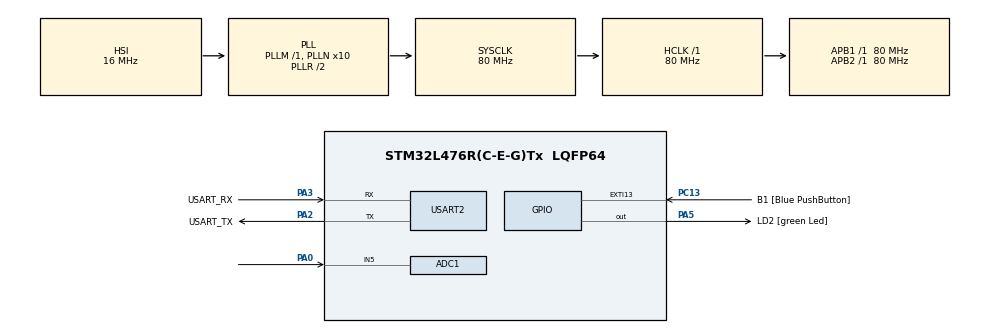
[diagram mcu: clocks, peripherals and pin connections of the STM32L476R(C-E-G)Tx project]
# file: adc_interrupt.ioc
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ADC1.Channel-1\#ChannelRegularConversion=ADC_CHANNEL_5
ADC1.NbrOfConversionFlag=1
ADC1.OffsetNumber-1\#ChannelRegularConversion=ADC_OFFSET_NONE
ADC1.Rank-1\#ChannelRegularConversion=1
ADC1.SamplingTime-1\#ChannelRegularConversion=ADC_SAMPLETIME_2CYCLES_5
ADC1.master=1
Mcu.Family=STM32L4
Mcu.Name=STM32L476R(C-E-G)Tx
Mcu.Package=LQFP64
NVIC.ADC1_2_IRQn=true\:0\:0\:false\:false\:true\:true\:true\:true
NVIC.PriorityGroup=NVIC_PRIORITYGROUP_4
PA0.Signal=ADCx_IN5
PA13\ (JTMS-SWDIO).GPIO_Label=TMS
PA13\ (JTMS-SWDIO).Mode=Serial_Wire
PA13\ (JTMS-SWDIO).Signal=SYS_JTMS-SWDIO
PA14\ (JTCK-SWCLK).GPIO_Label=TCK
PA14\ (JTCK-SWCLK).Mode=Serial_Wire
PA14\ (JTCK-SWCLK).Signal=SYS_JTCK-SWCLK
PA2.GPIO_Label=USART_TX
PA2.GPIO_Mode=GPIO_MODE_AF_PP
PA2.GPIO_PuPd=GPIO_NOPULL
PA2.GPIO_Speed=GPIO_SPEED_FREQ_VERY_HIGH
PA2.Mode=Asynchronous
PA2.Signal=USART2_TX
PA3.GPIO_Label=USART_RX
PA3.GPIO_Mode=GPIO_MODE_AF_PP
PA3.GPIO_PuPd=GPIO_NOPULL
PA3.GPIO_Speed=GPIO_SPEED_FREQ_VERY_HIGH
PA3.Mode=Asynchronous
PA3.Signal=USART2_RX
PA5.GPIO_Label=LD2 [green Led]
PA5.GPIO_ModeDefaultOutputPP=GPIO_MODE_OUTPUT_PP
PA5.GPIO_PuPd=GPIO_NOPULL
PA5.GPIO_Speed=GPIO_SPEED_FREQ_LOW
PA5.Signal=GPIO_Output
PB3\ (JTDO-TRACESWO).GPIO_Label=SWO
PB3\ (JTDO-TRACESWO).Signal=SYS_JTDO-SWO
PC13.GPIO_Label=B1 [Blue PushButton]
PC13.GPIO_ModeDefaultEXTI=GPIO_MODE_IT_FALLING
PC13.GPIO_PuPd=GPIO_NOPULL
PC13.Signal=GPXTI13
PC14-OSC32_IN\ (PC14).Signal=RCC_OSC32_IN
PC15-OSC32_OUT\ (PC15).Signal=RCC_OSC32_OUT
PH0-OSC_IN\ (PH0).Mode=HSE-External-Oscillator
PH0-OSC_IN\ (PH0).Signal=RCC_OSC_IN
PH1-OSC_OUT\ (PH1).Mode=HSE-External-Oscillator
PH1-OSC_OUT\ (PH1).Signal=RCC_OSC_OUT
ProjectManager.HeapSize=0x200
ProjectManager.StackSize=0x400
ProjectManager.TargetToolchain=STM32CubeIDE
RCC.ADCFreq_Value=64000000
RCC.AHBFreq_Value=80000000
RCC.APB1Freq_Value=80000000
RCC.APB1TimFreq_Value=80000000
RCC.APB2Freq_Value=80000000
RCC.APB2TimFreq_Value=80000000
RCC.CortexFreq_Value=80000000
RCC.HCLKFreq_Value=80000000
RCC.HSE_VALUE=8000000
RCC.HSI_VALUE=16000000
RCC.MSI_VALUE=4000000
RCC.PLLN=10
RCC.PLLSourceVirtual=RCC_PLLSOURCE_HSI
RCC.PREFETCH_ENABLE=1
RCC.SYSCLKFreq_VALUE=80000000
RCC.SYSCLKSource=RCC_SYSCLKSOURCE_PLLCLK
RCC.USBFreq_Value=64000000
RCC.VCOOutputFreq_Value=160000000
SH.ADCx_IN5.0=ADC1_IN5,IN5-Single-Ended
USART2.VirtualMode-Asynchronous=VM_ASYNC
board=NUCLEO-L476RG

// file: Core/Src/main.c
/* USER CODE BEGIN Header */
/**
  ******************************************************************************
  * @file           : main.c
  * @brief          : Main program body
  ******************************************************************************
  * @attention
  *
  * Copyright (c) 2025 STMicroelectronics.
  * All rights reserved.
  *
  * This software is licensed under terms that can be found in the LICENSE file
  * in the root directory of this software component.
  * If no LICENSE file comes with this software, it is provided AS-IS.
  *
  ******************************************************************************
  */
/* USER CODE END Header */
#include "main.h"

ADC_HandleTypeDef hadc1;

UART_HandleTypeDef huart2;

/* USER CODE BEGIN PV */
uint32_t adcValue ;
ADC_HandleTypeDef  hadc1;

/* USER CODE END PV */

void SystemClock_Config(void);
static void MX_GPIO_Init(void);
static void MX_USART2_UART_Init(void);
static void MX_ADC1_Init(void);

/* USER CODE BEGIN 0 */
int __io_putchar(int ch)
{
	HAL_UART_Transmit(&huart2, (uint8_t*)&ch, 1, HAL_MAX_DELAY);
	return ch;
}

 void adc_init_start(void)
 {
     HAL_ADC_Start(&hadc1);
 }
void adc_pa0_interrupt_init(void)
{
    ADC_ChannelConfTypeDef sConfig = {0};

    __HAL_RCC_ADC_CLK_ENABLE();

    hadc1.Instance = ADC1;
    hadc1.Init.ClockPrescaler = ADC_CLOCK_SYNC_PCLK_DIV2;
    hadc1.Init.Resolution = ADC_RESOLUTION_12B;
    hadc1.Init.ContinuousConvMode = ENABLE;
    hadc1.Init.DiscontinuousConvMode = DISABLE;
    hadc1.Init.ExternalTrigConvEdge = ADC_EXTERNALTRIGCONVEDGE_NONE;
    hadc1.Init.ExternalTrigConv = ADC_SOFTWARE_START;
    hadc1.Init.DataAlign = ADC_DATAALIGN_RIGHT;
    hadc1.Init.NbrOfConversion = 1;
    hadc1.Init.DMAContinuousRequests = DISABLE;
    hadc1.Init.EOCSelection = ADC_EOC_SINGLE_CONV;

    HAL_ADC_Init(&hadc1);

    sConfig.Channel = ADC_CHANNEL_0;
    sConfig.Rank = 1;
    sConfig.SamplingTime = ADC_SAMPLETIME_640CYCLES_5;

    HAL_ADC_ConfigChannel(&hadc1, &sConfig);

    NVIC_SetPriority(ADC1_2_IRQn, 0);
    NVIC_EnableIRQ(ADC1_2_IRQn);
}
void HAL_ADC_ConvCpltCallback(ADC_HandleTypeDef* hadc)
{

	adcValue = HAL_ADC_GetValue(&hadc1);
	HAL_ADC_Start_IT(&hadc1);
}
/* USER CODE END 0 */

int main(void)
{

  /* MCU Configuration--------------------------------------------------------*/

  /* Reset of all peripherals, Initializes the Flash interface and the Systick. */
  HAL_Init();

  /* Configure the system clock */
  SystemClock_Config();

  /* Initialize all configured peripherals */
  MX_GPIO_Init();
  MX_USART2_UART_Init();
  MX_ADC1_Init();
  /* USER CODE BEGIN 2 */
 // adc_pa0_interrupt_init();
  HAL_ADC_Start_IT(&hadc1);
  /* USER CODE END 2 */

  /* Infinite loop */
  while (1)
  {

    /* USER CODE BEGIN 3 */
	 printf("ADC Value : %lu\r\n",adcValue);
	 HAL_Delay(1000);
  }
  /* USER CODE END 3 */
}

void SystemClock_Config(void)
{
  RCC_OscInitTypeDef RCC_OscInitStruct = {0};
  RCC_ClkInitTypeDef RCC_ClkInitStruct = {0};

  /** Configure the main internal regulator output voltage
  */
  if (HAL_PWREx_ControlVoltageScaling(PWR_REGULATOR_VOLTAGE_SCALE1) != HAL_OK)
  {
    Error_Handler();
  }

  /** Initializes the RCC Oscillators according to the specified parameters
  * in the RCC_OscInitTypeDef structure.
  */
  RCC_OscInitStruct.OscillatorType = RCC_OSCILLATORTYPE_HSI;
  RCC_OscInitStruct.HSIState = RCC_HSI_ON;
  RCC_OscInitStruct.HSICalibrationValue = RCC_HSICALIBRATION_DEFAULT;
  RCC_OscInitStruct.PLL.PLLState = RCC_PLL_ON;
  RCC_OscInitStruct.PLL.PLLSource = RCC_PLLSOURCE_HSI;
  RCC_OscInitStruct.PLL.PLLM = 1;
  RCC_OscInitStruct.PLL.PLLN = 10;
  RCC_OscInitStruct.PLL.PLLP = RCC_PLLP_DIV7;
  RCC_OscInitStruct.PLL.PLLQ = RCC_PLLQ_DIV2;
  RCC_OscInitStruct.PLL.PLLR = RCC_PLLR_DIV2;
  if (HAL_RCC_OscConfig(&RCC_OscInitStruct) != HAL_OK)
  {
    Error_Handler();
  }

  /** Initializes the CPU, AHB and APB buses clocks
  */
  RCC_ClkInitStruct.ClockType = RCC_CLOCKTYPE_HCLK|RCC_CLOCKTYPE_SYSCLK
                              |RCC_CLOCKTYPE_PCLK1|RCC_CLOCKTYPE_PCLK2;
  RCC_ClkInitStruct.SYSCLKSource = RCC_SYSCLKSOURCE_PLLCLK;
  RCC_ClkInitStruct.AHBCLKDivider = RCC_SYSCLK_DIV1;
  RCC_ClkInitStruct.APB1CLKDivider = RCC_HCLK_DIV1;
  RCC_ClkInitStruct.APB2CLKDivider = RCC_HCLK_DIV1;

  if (HAL_RCC_ClockConfig(&RCC_ClkInitStruct, FLASH_LATENCY_4) != HAL_OK)
  {
    Error_Handler();
  }
}

static void MX_ADC1_Init(void)
{

  ADC_MultiModeTypeDef multimode = {0};
  ADC_ChannelConfTypeDef sConfig = {0};

  /** Common config
  */
  hadc1.Instance = ADC1;
  hadc1.Init.ClockPrescaler = ADC_CLOCK_ASYNC_DIV1;
  hadc1.Init.Resolution = ADC_RESOLUTION_12B;
  hadc1.Init.DataAlign = ADC_DATAALIGN_RIGHT;
  hadc1.Init.ScanConvMode = ADC_SCAN_DISABLE;
  hadc1.Init.EOCSelection = ADC_EOC_SINGLE_CONV;
  hadc1.Init.LowPowerAutoWait = DISABLE;
  hadc1.Init.ContinuousConvMode = DISABLE;
  hadc1.Init.NbrOfConversion = 1;
  hadc1.Init.DiscontinuousConvMode = DISABLE;
  hadc1.Init.ExternalTrigConv = ADC_SOFTWARE_START;
  hadc1.Init.ExternalTrigConvEdge = ADC_EXTERNALTRIGCONVEDGE_NONE;
  hadc1.Init.DMAContinuousRequests = DISABLE;
  hadc1.Init.Overrun = ADC_OVR_DATA_PRESERVED;
  hadc1.Init.OversamplingMode = DISABLE;
  if (HAL_ADC_Init(&hadc1) != HAL_OK)
  {
    Error_Handler();
  }

  /** Configure the ADC multi-mode
  */
  multimode.Mode = ADC_MODE_INDEPENDENT;
  if (HAL_ADCEx_MultiModeConfigChannel(&hadc1, &multimode) != HAL_OK)
  {
    Error_Handler();
  }

  /** Configure Regular Channel
  */
  sConfig.Channel = ADC_CHANNEL_5;
  sConfig.Rank = ADC_REGULAR_RANK_1;
  sConfig.SamplingTime = ADC_SAMPLETIME_2CYCLES_5;
  sConfig.SingleDiff = ADC_SINGLE_ENDED;
  sConfig.OffsetNumber = ADC_OFFSET_NONE;
  sConfig.Offset = 0;
  if (HAL_ADC_ConfigChannel(&hadc1, &sConfig) != HAL_OK)
  {
    Error_Handler();
  }
  /* USER CODE BEGIN ADC1_Init 2 */
  NVIC_SetPriority(ADC1_2_IRQn, 0);
  NVIC_EnableIRQ(ADC1_2_IRQn);
  /* USER CODE END ADC1_Init 2 */

}

static void MX_USART2_UART_Init(void)
{

  huart2.Instance = USART2;
  huart2.Init.BaudRate = 115200;
  huart2.Init.WordLength = UART_WORDLENGTH_8B;
  huart2.Init.StopBits = UART_STOPBITS_1;
  huart2.Init.Parity = UART_PARITY_NONE;
  huart2.Init.Mode = UART_MODE_TX_RX;
  huart2.Init.HwFlowCtl = UART_HWCONTROL_NONE;
  huart2.Init.OverSampling = UART_OVERSAMPLING_16;
  huart2.Init.OneBitSampling = UART_ONE_BIT_SAMPLE_DISABLE;
  huart2.AdvancedInit.AdvFeatureInit = UART_ADVFEATURE_NO_INIT;
  if (HAL_UART_Init(&huart2) != HAL_OK)
  {
    Error_Handler();
  }

}

static void MX_GPIO_Init(void)
{
  GPIO_InitTypeDef GPIO_InitStruct = {0};

  /* GPIO Ports Clock Enable */
  __HAL_RCC_GPIOC_CLK_ENABLE();
  __HAL_RCC_GPIOH_CLK_ENABLE();
  __HAL_RCC_GPIOA_CLK_ENABLE();
  __HAL_RCC_GPIOB_CLK_ENABLE();

  /*Configure GPIO pin Output Level */
  HAL_GPIO_WritePin(LD2_GPIO_Port, LD2_Pin, GPIO_PIN_RESET);

  /*Configure GPIO pin : B1_Pin */
  GPIO_InitStruct.Pin = B1_Pin;
  GPIO_InitStruct.Mode = GPIO_MODE_IT_FALLING;
  GPIO_InitStruct.Pull = GPIO_NOPULL;
  HAL_GPIO_Init(B1_GPIO_Port, &GPIO_InitStruct);

  /*Configure GPIO pin : LD2_Pin */
  GPIO_InitStruct.Pin = LD2_Pin;
  GPIO_InitStruct.Mode = GPIO_MODE_OUTPUT_PP;
  GPIO_InitStruct.Pull = GPIO_NOPULL;
  GPIO_InitStruct.Speed = GPIO_SPEED_FREQ_LOW;
  HAL_GPIO_Init(LD2_GPIO_Port, &GPIO_InitStruct);

}

void Error_Handler(void)
{
  __disable_irq();
  while (1)
  {
  }
}
